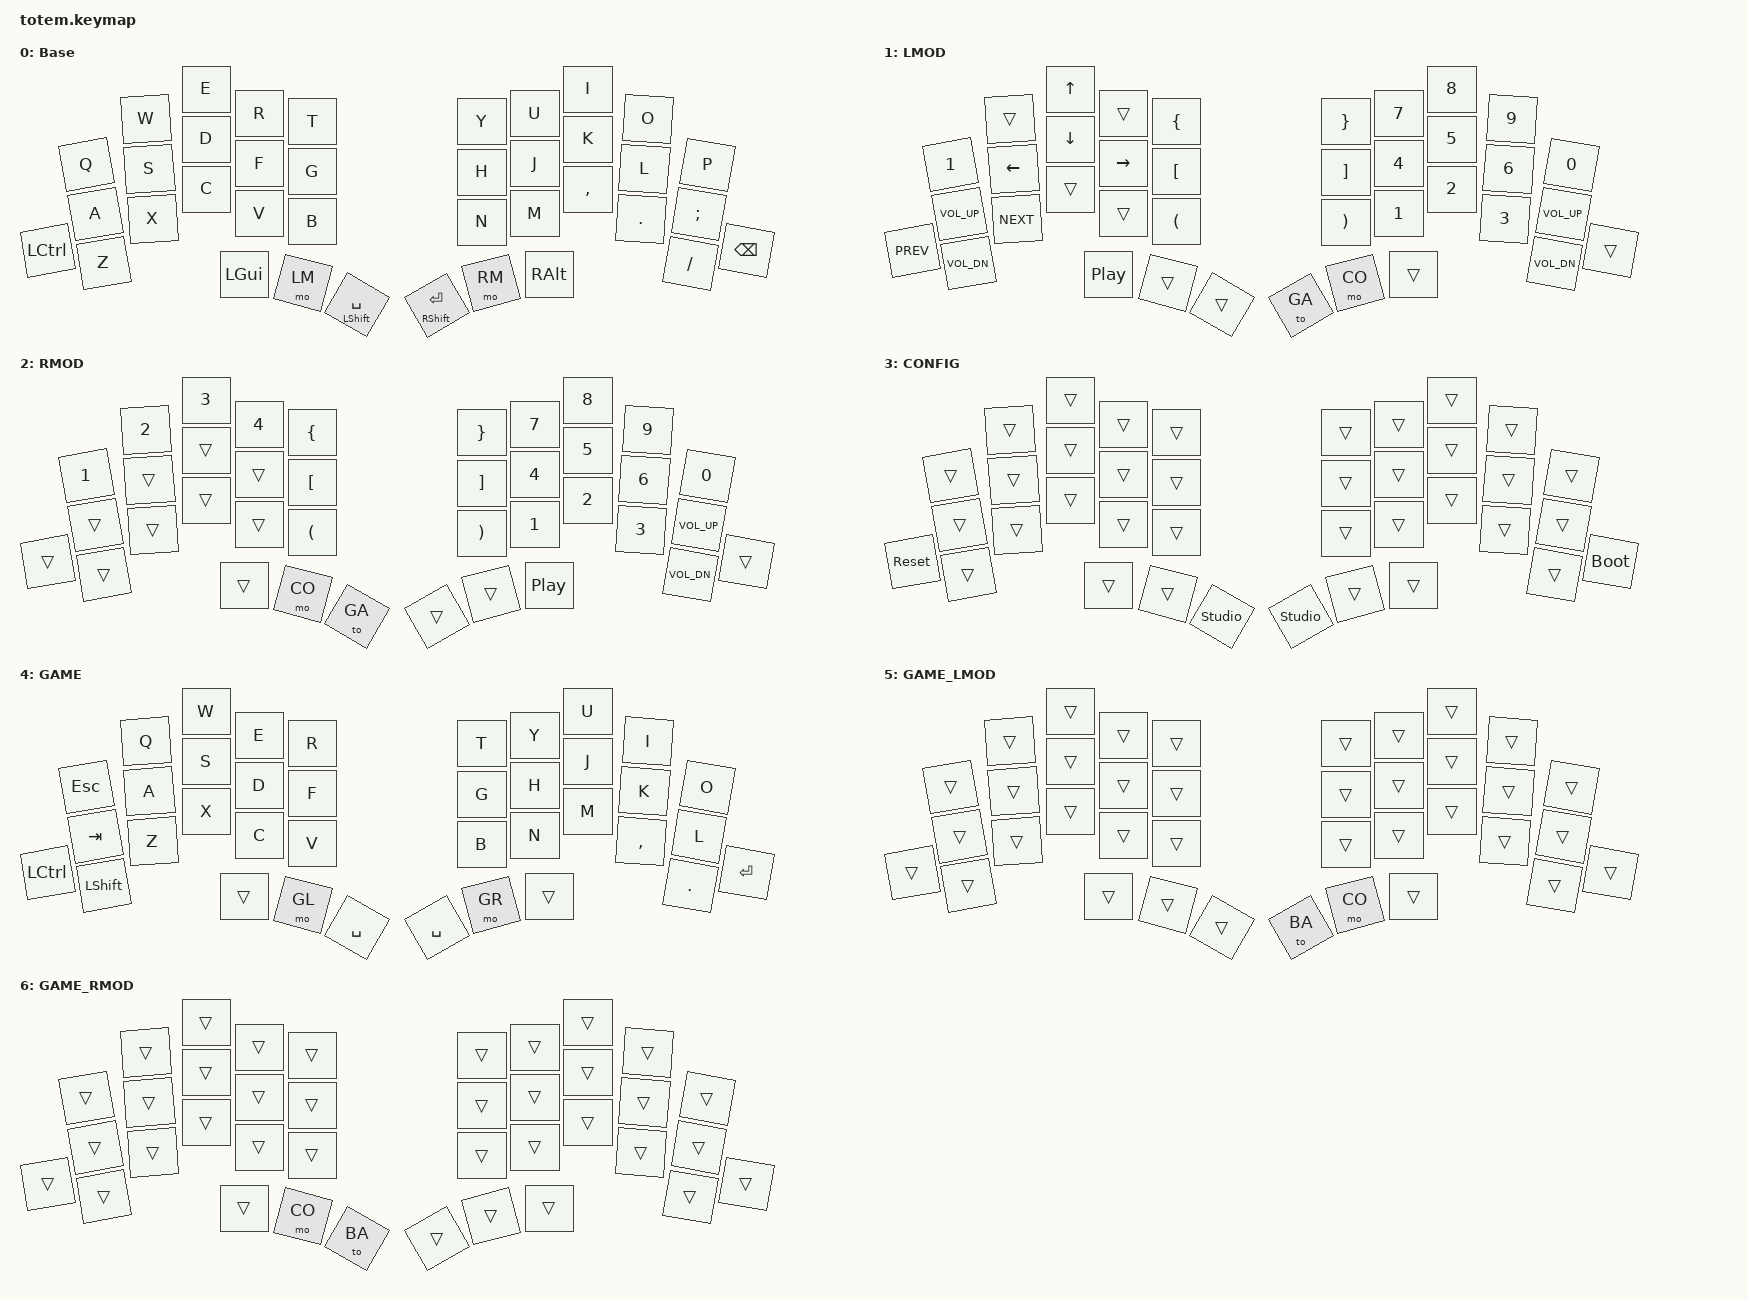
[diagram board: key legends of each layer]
//
//                                                        ▀▀▀▀▀     ▀▀▀▀▀          ▀▀█▀▀
//                                                        ▄▀▀▀▄  ▄  ▄▀▀▀▄  ▄  ▄▀▀▀▄  █  ▄▀▀▀▄
//                                                        █   █  █  █   █  █  █   █  █  █   █
//                                                         ▀▀▀   █   ▀▀▀   █   ▀▀▀   ▀   ▀▀▀
//                                                               █      ▄▄▄█▄▄▄    █   █  
//                                                               ▀      █  █  █     █▄█
//                                                             ▀▀▀▀▀    █  █  █      ▀
//                                                                      ▀  ▀  ▀
//
// ▄▄▄▄▄▄▄▄▄▄▄▄▄▄▄▄▄▄▄▄▄▄▄▄▄▄▄▄▄▄▄▄▄▄▄▄▄▄▄▄▄▄▄▄▄▄▄▄▄▄▄▄▄▄▄▄▄▄▄▄▄▄▄▄▄▄▄▄▄▄▄▄▄▄▄▄▄▄▄▄▄▄▄▄▄▄▄▄▄▄▄▄▄▄▄▄▄▄▄▄▄▄▄▄▄▄▄▄▄▄▄▄▄▄▄▄▄▄▄▄▄▄▄▄▄▄▄▄▄▄▄▄▄▄▄▄▄▄▄▄▄▄▄▄▄▄▄▄▄

#include <behaviors.dtsi>
#include <dt-bindings/zmk/keys.h>

#define Base        0
#define LMOD        1
#define RMOD        2
#define CONFIG      3
#define GAME        4
#define GAME_LMOD   5
#define GAME_RMOD   6

#define BA          0
#define LM          1
#define RM          2
#define CO          3
#define GA          4
#define GL          5
#define GR          6

&kscan0 {
    debounce-press-ms = <5>;
    debounce-release-ms = <3>;
};

&mt {
    quick-tap-ms = <100>;
    global-quick-tap;
    flavor = "tap-preferred";
    tapping-term-ms = <170>;
};

&lt {
    tapping-term-ms = <240>;
    flavor = "balanced";
    quick-tap-ms = <150>;
};

/ {
    behaviors {
        hm: homerow_mods {
            compatible = "zmk,behavior-hold-tap";
            label = "HOMEROW_MODS";
            #binding-cells = <2>;
            flavor = "tap-preferred";
            tapping-term-ms = <200>;
            quick-tap-ms = <125>;
            global-quick-tap;
            bindings = <&kp>, <&kp>;
        };
        gresc: grave_escape {
            compatible = "zmk,behavior-mod-morph";
            #binding-cells = <0>;
            bindings = <&kp ESC>, <&kp GRAVE>;
            mods = <(MOD_LCTL|MOD_LGUI|MOD_RCTL|MOD_RGUI)>;
        };
    };

// Reference
//                   0             1             2              3             4         |        5               6            7            8           9
//                   10            11            12             13*           14        |        15              16*          17           18          19
//20                 21            22            23             24            25        |        26              27           28           29          30                  31
//                                               32             33            34        |        35              36           37
    combos {
      compatible = "zmk,combos";
      combo_esc {
        timeout-ms = <30>;
        key-positions = <0 1>;
        bindings = <&gresc>;
      };
      combo_tilde {
        timeout-ms = <30>;
        key-positions = <0 1 20>;
        bindings = <&kp TILDE>;
      };
      combo_tab {
        timeout-ms = <30>;
        key-positions = <10 11>;
        bindings = <&kp TAB>;
      };
      combo_minus {
        timeout-ms = <30>;
        key-positions = <5 6>;
        bindings = <&kp MINUS>;
      };
      combo_equal {
        timeout-ms = <30>;
        key-positions = <6 7>;
        bindings = <&kp EQUAL>;
      };
      combo_bslh {
        timeout-ms = <30>;
        key-positions = <7 8>;
        bindings = <&kp BSLH>;
      };
      combo_sqt {
        timeout-ms = <30>;
        key-positions = <18 19>;
        bindings = <&kp SQT>;
      };
      combo_shift {
        timeout-ms = <30>;
        key-positions = <34 35>;
        bindings = <&kp LSHIFT>;
      };
      combo_play_l {
        timeout-ms = <30>;
        key-positions = <32 33>;
        bindings = <&kp C_PP>;
      };
      combo_play_r {
        timeout-ms = <30>;
        key-positions = <36 37>;
        bindings = <&kp C_PP>;
      };
      combo_switch_to_base {
        timeout-ms = <30>;
        key-positions = <33 34 35 36>;
        bindings = <&to BA>;
      };
      combo_switch_to_game {
        timeout-ms = <30>;
        key-positions = <20 10 34 35 19 31>;
        bindings = <&to GA>;
      };
    };

// Reference
//                   0             1             2              3             4         |        5               6            7            8           9
//                   10            11            12             13*           14        |        15              16*          17           18          19
//20                 21            22            23             24            25        |        26              27           28           29          30                  31
//                                               32             33            34        |        35              36           37
//                      

    keymap {
        compatible = "zmk,keymap";

//        TRANS {
//            display-name = "TRANS";
//            bindings = <
//                   &trans        &trans        &trans         &trans        &trans             &trans          &trans       &trans       &trans      &trans
//                   &trans        &trans        &trans         &trans        &trans             &trans          &trans       &trans       &trans      &trans
//&trans             &trans        &trans        &trans         &trans        &trans             &trans          &trans       &trans       &trans      &trans              &trans
//                                               &trans         &trans        &trans             &trans          &trans       &trans
//            >;
//        };

          Base {
              display-name = "Base";
              bindings = <
                     &kp Q         &kp W         &kp E          &kp R         &kp T              &kp Y           &kp U        &kp I        &kp O       &kp P
                     &kp A         &kp S         &kp D          &kp F         &kp G              &kp H           &kp J        &kp K        &kp L       &kp SEMICOLON
  &kp LCTRL          &kp Z         &kp X         &kp C          &kp V         &kp B              &kp N           &kp M        &kp COMMA    &kp DOT     &kp FSLH            &kp BSPC
                                                 &kp LGUI       &mo LM        &mt LSHIFT SPACE   &mt RSHIFT RET  &mo RM       &kp RALT
              >;
          };

          LMOD {
              display-name = "LMOD";
              bindings = <
                     &kp N1        &trans        &kp UP         &trans        &kp LBRC           &kp RBRC        &kp N7       &kp N8       &kp N9      &kp N0
                     &kp C_VOL_UP  &kp LEFT      &kp DOWN       &kp RIGHT     &kp LBKT           &kp RBKT        &kp N4       &kp N5       &kp N6      &kp C_VOL_UP
  &kp C_PREV         &kp C_VOL_DN  &kp C_NEXT    &trans         &trans        &kp LPAR           &kp RPAR        &kp N1       &kp N2       &kp N3      &kp C_VOL_DN        &trans
                                                 &kp C_PP       &trans        &trans             &to GA          &mo CO       &trans
              >;
          };

          RMOD {
              display-name = "RMOD";
              bindings = <
                     &kp N1        &kp N2        &kp N3         &kp N4        &kp LBRC           &kp RBRC        &kp N7       &kp N8       &kp N9      &kp N0
                     &trans        &trans        &trans         &trans        &kp LBKT           &kp RBKT        &kp N4       &kp N5       &kp N6      &kp C_VOL_UP
  &trans             &trans        &trans        &trans         &trans        &kp LPAR           &kp RPAR        &kp N1       &kp N2       &kp N3      &kp C_VOL_DN        &trans
                                                 &trans         &mo CO        &to GA             &trans          &trans       &kp C_PP
              >;
          };

          CONFIG {
              display-name = "CONFIG";
              bindings = <
                     &trans        &trans        &trans         &trans        &trans             &trans          &trans       &trans       &trans      &trans
                     &trans        &trans        &trans         &trans        &trans             &trans          &trans       &trans       &trans      &trans
  &sys_reset         &trans        &trans        &trans         &trans        &trans             &trans          &trans       &trans       &trans      &trans              &bootloader
                                                 &trans         &trans        &studio_unlock     &studio_unlock  &trans       &trans
              >;
          };

          GAME {
              display-name = "GAME";
              bindings = <
                     &kp ESC       &kp Q         &kp W          &kp E         &kp R              &kp T           &kp Y        &kp U        &kp I       &kp O
                     &kp TAB       &kp A         &kp S          &kp D         &kp F              &kp G           &kp H        &kp J        &kp K       &kp L
  &kp LCTRL          &kp LSHIFT    &kp Z         &kp X          &kp C         &kp V              &kp B           &kp N        &kp M        &kp COMMA   &kp DOT             &kp RET
                                                 &trans         &mo GL        &kp SPACE          &kp SPACE       &mo GR       &trans
              >;
          };

          GAME_LMOD {
              display-name = "GAME_LMOD";
              bindings = <
                     &trans        &trans        &trans         &trans        &trans             &trans          &trans       &trans       &trans      &trans
                     &trans        &trans        &trans         &trans        &trans             &trans          &trans       &trans       &trans      &trans
  &trans             &trans        &trans        &trans         &trans        &trans             &trans          &trans       &trans       &trans      &trans              &trans
                                                 &trans         &trans        &trans             &to BA          &mo CO       &trans
              >;
          };

          GAME_RMOD {
              display-name = "GAME_RMOD";
              bindings = <
                     &trans        &trans        &trans         &trans        &trans             &trans          &trans       &trans       &trans      &trans
                     &trans        &trans        &trans         &trans        &trans             &trans          &trans       &trans       &trans      &trans
  &trans             &trans        &trans        &trans         &trans        &trans             &trans          &trans       &trans       &trans      &trans              &trans
                                                 &trans         &mo CO        &to BA             &trans          &trans       &trans
              >;
          };
      };
};
